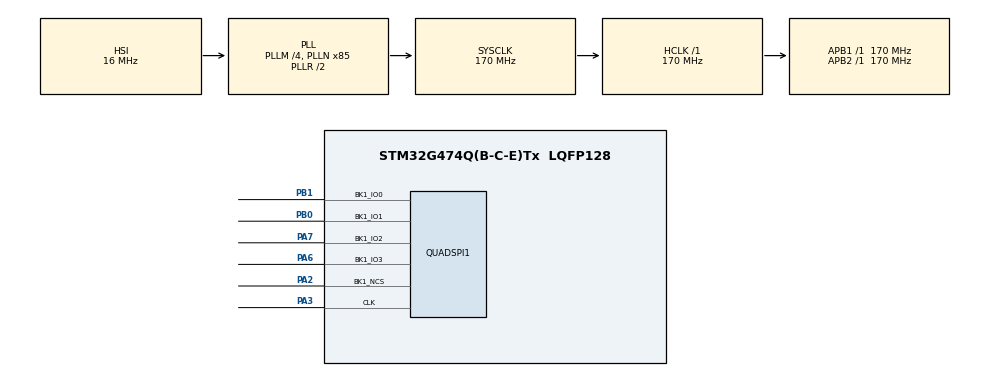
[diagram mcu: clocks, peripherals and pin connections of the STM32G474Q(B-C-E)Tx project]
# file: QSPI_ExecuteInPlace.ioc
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Dma.QUADSPI.0.Direction=DMA_PERIPH_TO_MEMORY
Dma.QUADSPI.0.EventEnable=DISABLE
Dma.QUADSPI.0.Instance=DMA1_Channel1
Dma.QUADSPI.0.MemDataAlignment=DMA_MDATAALIGN_BYTE
Dma.QUADSPI.0.MemInc=DMA_MINC_ENABLE
Dma.QUADSPI.0.Mode=DMA_NORMAL
Dma.QUADSPI.0.PeriphDataAlignment=DMA_PDATAALIGN_BYTE
Dma.QUADSPI.0.PeriphInc=DMA_PINC_DISABLE
Dma.QUADSPI.0.Polarity=HAL_DMAMUX_REQ_GEN_RISING
Dma.QUADSPI.0.Priority=DMA_PRIORITY_LOW
Dma.QUADSPI.0.RequestNumber=1
Dma.QUADSPI.0.SignalID=NONE
Dma.QUADSPI.0.SyncEnable=DISABLE
Dma.QUADSPI.0.SyncPolarity=HAL_DMAMUX_SYNC_NO_EVENT
Dma.QUADSPI.0.SyncRequestNumber=1
Dma.QUADSPI.0.SyncSignalID=NONE
Dma.Request0=QUADSPI
Mcu.Family=STM32G4
Mcu.Name=STM32G474Q(B-C-E)Tx
Mcu.Package=LQFP128
NVIC.DMA1_Channel1_IRQn=true\:0\:0\:false\:false\:true\:false\:true\:true
NVIC.PriorityGroup=NVIC_PRIORITYGROUP_4
NVIC.QUADSPI_IRQn=true\:0\:0\:false\:false\:true\:true\:true\:true
PA2.GPIO_Speed=GPIO_SPEED_FREQ_VERY_HIGH
PA2.Mode=Single Bank 1
PA2.Signal=QUADSPI1_BK1_NCS
PA3.GPIO_Speed=GPIO_SPEED_FREQ_VERY_HIGH
PA3.Mode=Single Bank 1
PA3.Signal=QUADSPI1_CLK
PA6.GPIO_Speed=GPIO_SPEED_FREQ_VERY_HIGH
PA6.Mode=Single Bank 1
PA6.Signal=QUADSPI1_BK1_IO3
PA7.GPIO_Speed=GPIO_SPEED_FREQ_VERY_HIGH
PA7.Mode=Single Bank 1
PA7.Signal=QUADSPI1_BK1_IO2
PB0.GPIO_Speed=GPIO_SPEED_FREQ_VERY_HIGH
PB0.Mode=Single Bank 1
PB0.Signal=QUADSPI1_BK1_IO1
PB1.GPIO_Speed=GPIO_SPEED_FREQ_VERY_HIGH
PB1.Mode=Single Bank 1
PB1.Signal=QUADSPI1_BK1_IO0
ProjectManager.HeapSize=0x200
ProjectManager.StackSize=0xA00
ProjectManager.TargetToolchain=EWARM V8.32
QUADSPI1.ChipSelectHighTime=QSPI_CS_HIGH_TIME_4_CYCLE
QUADSPI1.ClockMode=QSPI_CLOCK_MODE_0
QUADSPI1.ClockPrescaler=1
QUADSPI1.DualFlash=QSPI_DUALFLASH_DISABLE
QUADSPI1.FifoThreshold=4
QUADSPI1.FlashID=QSPI_FLASH_ID_1
QUADSPI1.FlashSize=QSPI_FLASH_SIZE
QUADSPI1.SampleShifting=QSPI_SAMPLE_SHIFTING_NONE
RCC.ADC12Freq_Value=170000000
RCC.ADC345Freq_Value=170000000
RCC.AHBFreq_Value=170000000
RCC.APB1Freq_Value=170000000
RCC.APB1TimFreq_Value=170000000
RCC.APB2Freq_Value=170000000
RCC.APB2TimFreq_Value=170000000
RCC.CortexFreq_Value=170000000
RCC.EXTERNAL_CLOCK_VALUE=12288000
RCC.HCLKFreq_Value=170000000
RCC.HSE_VALUE=24000000
RCC.HSI48_VALUE=48000000
RCC.HSI_VALUE=16000000
RCC.LSE_VALUE=32768
RCC.PLLM=RCC_PLLM_DIV4
RCC.PLLN=85
RCC.SYSCLKFreq_VALUE=170000000
RCC.SYSCLKSource=RCC_SYSCLKSOURCE_PLLCLK
RCC.USBFreq_Value=170000000
RCC.VCOOutputFreq_Value=340000000
VP_SYS_VS_DBSignals.Mode=DisableDeadBatterySignals
board=custom

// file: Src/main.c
/* USER CODE BEGIN Header */
/**
  ******************************************************************************
  * @file    QSPI/QSPI_ExecuteInPlace/Src/main.c
  * @author  MCD Application Team
  * @brief   This sample code shows how to erase part of the QSPI memory, write
  *          data in DMA mode and access to QSPI memory in memory-mapped mode.
  ******************************************************************************
  * @attention
  *
  * Copyright (c) 2019 STMicroelectronics.
  * All rights reserved.
  *
  * This software is licensed under terms that can be found in the LICENSE file
  * in the root directory of this software component.
  * If no LICENSE file comes with this software, it is provided AS-IS.
  *
  ******************************************************************************
  */
/* USER CODE END Header */
#include "main.h"

QSPI_HandleTypeDef hqspi1;
DMA_HandleTypeDef hdma_quadspi;

/* USER CODE BEGIN PV */
#if defined(__CC_ARM)
extern uint32_t Load$$QSPI$$Base;
extern uint32_t Load$$QSPI$$Length;
#elif defined(__ICCARM__)
#pragma section =".qspi"
#pragma section =".qspi_init"
#elif defined(__GNUC__)
extern uint32_t _qspi_init_base;
extern uint32_t _qspi_init_length;
#endif

__IO uint8_t CmdCplt, RxCplt, TxCplt, StatusMatch;
/* USER CODE END PV */

void SystemClock_Config(void);
static void MX_GPIO_Init(void);
static void MX_DMA_Init(void);
static void MX_QUADSPI1_Init(void);
/* USER CODE BEGIN PFP */
static void QSPI_WriteEnable(QSPI_HandleTypeDef *hqspi);
static void QSPI_AutoPollingMemReady(QSPI_HandleTypeDef *hqspi);
static void QSPI_DummyCyclesCfg(QSPI_HandleTypeDef *hqspi);
static void GpioToggle(void);
/* USER CODE END PFP */

int main(void)
{
  /* USER CODE BEGIN 1 */
  QSPI_CommandTypeDef      sCommand;
  QSPI_MemoryMappedTypeDef sMemMappedCfg;
  __IO uint32_t qspi_addr = 0;
  uint8_t *flash_addr = 0;
  __IO uint8_t step = 0;
  uint32_t max_size = 0, size = 0;

  /* STM32G4xx HAL library initialization:
       - Configure the Flash prefetch
       - Systick timer is configured by default as source of time base, but user
         can eventually implement his proper time base source (a general purpose
         timer for example or other time source), keeping in mind that Time base
         duration should be kept 1ms since PPP_TIMEOUT_VALUEs are defined and
         handled in milliseconds basis.
       - Set NVIC Group Priority to 4
       - Low Level Initialization
     */
  /* USER CODE END 1 */

  /* MCU Configuration--------------------------------------------------------*/

  /* Reset of all peripherals, Initializes the Flash interface and the Systick. */
  HAL_Init();

  /* Configure the system clock */
  SystemClock_Config();

  /* USER CODE BEGIN SysInit */
  BSP_LED_Init(LED1);
  BSP_LED_Init(LED2);
  BSP_LED_Init(LED3);
  BSP_LED_Init(LED4);
  /* USER CODE END SysInit */

  /* Initialize all configured peripherals */
  MX_GPIO_Init();
  MX_DMA_Init();
  MX_QUADSPI1_Init();
  /* USER CODE BEGIN 2 */
  /* Initialize QSPI commande structure */
  sCommand.InstructionMode   = QSPI_INSTRUCTION_1_LINE;
  sCommand.AddressSize       = QSPI_ADDRESS_24_BITS;
  sCommand.AlternateByteMode = QSPI_ALTERNATE_BYTES_NONE;
  sCommand.DdrMode           = QSPI_DDR_MODE_DISABLE;
  sCommand.DdrHoldHalfCycle  = QSPI_DDR_HHC_ANALOG_DELAY;
  sCommand.SIOOMode          = QSPI_SIOO_INST_EVERY_CMD;

#if defined(__CC_ARM)
  max_size = (uint32_t)(&Load$$QSPI$$Length);
#elif defined(__ICCARM__)
  max_size = __section_size(".qspi_init");
#elif defined(__GNUC__)
  max_size = (uint32_t)((uint8_t *)(&_qspi_init_length));
#endif
  /* USER CODE END 2 */

  /* Infinite loop */
  /* USER CODE BEGIN WHILE */
  while (1)
  {
    switch(step)
    {
      case 0:
        CmdCplt = 0;

        /* Enable write operations ------------------------------------------- */
        QSPI_WriteEnable(&hqspi1);

        /* Erasing Sequence -------------------------------------------------- */
        sCommand.Instruction = MT25QL512ABB_SECTOR_ERASE_64K_CMD;
        sCommand.AddressMode = QSPI_ADDRESS_1_LINE;
        sCommand.Address     = qspi_addr;
        sCommand.DataMode    = QSPI_DATA_NONE;
        sCommand.DummyCycles = 0;

        if (HAL_QSPI_Command_IT(&hqspi1, &sCommand) != HAL_OK)
        {
          Error_Handler();
        }

        step++;
        break;

      case 1:
        if(CmdCplt != 0)
        {
          CmdCplt = 0;
          StatusMatch = 0;

          /* Configure automatic polling mode to wait for end of erase ------- */
          QSPI_AutoPollingMemReady(&hqspi1);

#if defined(__CC_ARM)
          flash_addr = (uint8_t *)(&Load$$QSPI$$Base);
#elif defined(__ICCARM__)
          flash_addr = (uint8_t *)(__section_begin(".qspi_init"));
#elif defined(__GNUC__)
          flash_addr = (uint8_t *)(&_qspi_init_base);
#endif

          /* Copy only one page if the section is bigger */
          if (max_size > QSPI_PAGE_SIZE)
          {
            size = QSPI_PAGE_SIZE;
          }
          else
          {
            size = max_size;
          }

          step++;
        }
        break;

      case 2:
        if(StatusMatch != 0)
        {
          StatusMatch = 0;
          TxCplt = 0;

          /* Enable write operations ----------------------------------------- */
          QSPI_WriteEnable(&hqspi1);

          /* Writing Sequence ------------------------------------------------ */
          sCommand.Instruction = MT25QL512ABB_EXTENDED_QUAD_INPUT_FAST_PROG_CMD;
          sCommand.AddressMode = QSPI_ADDRESS_4_LINES;
          sCommand.Address     = qspi_addr;
          sCommand.DataMode    = QSPI_DATA_4_LINES;
          sCommand.NbData      = size;

          if (HAL_QSPI_Command(&hqspi1, &sCommand, HAL_QSPI_TIMEOUT_DEFAULT_VALUE) != HAL_OK)
          {
            Error_Handler();
          }

          if (HAL_QSPI_Transmit_DMA(&hqspi1, flash_addr) != HAL_OK)
          {
            Error_Handler();
          }

          step++;

        }
        break;

      case 3:
        if(TxCplt != 0)
        {
          TxCplt = 0;
          StatusMatch = 0;

          /* Configure automatic polling mode to wait for end of program ----- */
          QSPI_AutoPollingMemReady(&hqspi1);

          step++;
        }
        break;

      case 4:
        if(StatusMatch != 0)
        {
          qspi_addr += size;
          flash_addr += size;

          /* Check if a new page writing is needed */
          if (qspi_addr < max_size)
          {
            /* Update the remaining size if it is less than the page size */
            if ((qspi_addr + size) > max_size)
            {
              size = (max_size - qspi_addr);
            }
            step = 2;
          }
          else
          {
            StatusMatch = 0;
            RxCplt = 0;

            /* Configure Volatile Configuration register (with new dummy cycles) */
            QSPI_DummyCyclesCfg(&hqspi1);

            /* Reading Sequence ------------------------------------------------ */
            sCommand.Instruction = MT25QL512ABB_4IO_FAST_READ_CMD;
            sCommand.DummyCycles = 4;

            sMemMappedCfg.TimeOutActivation = QSPI_TIMEOUT_COUNTER_DISABLE;

            if (HAL_QSPI_MemoryMapped(&hqspi1, &sCommand, &sMemMappedCfg) != HAL_OK)
            {
              Error_Handler();
            }

            step++;
          }
        }
        break;

      case 5:
        /* Execute the code from QSPI memory ------------------------------- */
        GpioToggle();
        break;

      default :
        Error_Handler();
    }
    /* USER CODE END WHILE */

  }
}

void SystemClock_Config(void)
{
  RCC_OscInitTypeDef RCC_OscInitStruct = {0};
  RCC_ClkInitTypeDef RCC_ClkInitStruct = {0};

  /** Configure the main internal regulator output voltage
  */
  HAL_PWREx_ControlVoltageScaling(PWR_REGULATOR_VOLTAGE_SCALE1_BOOST);

  /** Initializes the RCC Oscillators according to the specified parameters
  * in the RCC_OscInitTypeDef structure.
  */
  RCC_OscInitStruct.OscillatorType = RCC_OSCILLATORTYPE_HSI;
  RCC_OscInitStruct.HSIState = RCC_HSI_ON;
  RCC_OscInitStruct.HSICalibrationValue = RCC_HSICALIBRATION_DEFAULT;
  RCC_OscInitStruct.PLL.PLLState = RCC_PLL_ON;
  RCC_OscInitStruct.PLL.PLLSource = RCC_PLLSOURCE_HSI;
  RCC_OscInitStruct.PLL.PLLM = RCC_PLLM_DIV4;
  RCC_OscInitStruct.PLL.PLLN = 85;
  RCC_OscInitStruct.PLL.PLLP = RCC_PLLP_DIV2;
  RCC_OscInitStruct.PLL.PLLQ = RCC_PLLQ_DIV2;
  RCC_OscInitStruct.PLL.PLLR = RCC_PLLR_DIV2;
  if (HAL_RCC_OscConfig(&RCC_OscInitStruct) != HAL_OK)
  {
    Error_Handler();
  }

  /** Initializes the CPU, AHB and APB buses clocks
  */
  RCC_ClkInitStruct.ClockType = RCC_CLOCKTYPE_HCLK|RCC_CLOCKTYPE_SYSCLK
                              |RCC_CLOCKTYPE_PCLK1|RCC_CLOCKTYPE_PCLK2;
  RCC_ClkInitStruct.SYSCLKSource = RCC_SYSCLKSOURCE_PLLCLK;
  RCC_ClkInitStruct.AHBCLKDivider = RCC_SYSCLK_DIV1;
  RCC_ClkInitStruct.APB1CLKDivider = RCC_HCLK_DIV1;
  RCC_ClkInitStruct.APB2CLKDivider = RCC_HCLK_DIV1;

  if (HAL_RCC_ClockConfig(&RCC_ClkInitStruct, FLASH_LATENCY_4) != HAL_OK)
  {
    Error_Handler();
  }
}

static void MX_QUADSPI1_Init(void)
{

  /* QUADSPI1 parameter configuration*/
  hqspi1.Instance = QUADSPI;
  hqspi1.Init.ClockPrescaler = 1;
  hqspi1.Init.FifoThreshold = 4;
  hqspi1.Init.SampleShifting = QSPI_SAMPLE_SHIFTING_NONE;
  hqspi1.Init.FlashSize = QSPI_FLASH_SIZE;
  hqspi1.Init.ChipSelectHighTime = QSPI_CS_HIGH_TIME_4_CYCLE;
  hqspi1.Init.ClockMode = QSPI_CLOCK_MODE_0;
  hqspi1.Init.FlashID = QSPI_FLASH_ID_1;
  hqspi1.Init.DualFlash = QSPI_DUALFLASH_DISABLE;
  if (HAL_QSPI_Init(&hqspi1) != HAL_OK)
  {
    Error_Handler();
  }

}

static void MX_DMA_Init(void)
{

  /* DMA controller clock enable */
  __HAL_RCC_DMAMUX1_CLK_ENABLE();
  __HAL_RCC_DMA1_CLK_ENABLE();

  /* DMA interrupt init */
  /* DMA1_Channel1_IRQn interrupt configuration */
  HAL_NVIC_SetPriority(DMA1_Channel1_IRQn, 0, 0);
  HAL_NVIC_EnableIRQ(DMA1_Channel1_IRQn);

}

static void MX_GPIO_Init(void)
{

  /* GPIO Ports Clock Enable */
  __HAL_RCC_GPIOA_CLK_ENABLE();
  __HAL_RCC_GPIOB_CLK_ENABLE();

}

/* USER CODE BEGIN 4 */
/**
  * @brief  Command completed callbacks.
  * @param  hqspi QSPI handle
  * @retval None
  */
void HAL_QSPI_CmdCpltCallback(QSPI_HandleTypeDef *hqspi)
{
  CmdCplt++;
}

/**
  * @brief  Rx Transfer completed callbacks.
  * @param  hqspi QSPI handle
  * @retval None
  */
void HAL_QSPI_RxCpltCallback(QSPI_HandleTypeDef *hqspi)
{
  RxCplt++;
}

/**
  * @brief  Tx Transfer completed callbacks.
  * @param  hqspi QSPI handle
  * @retval None
  */
void HAL_QSPI_TxCpltCallback(QSPI_HandleTypeDef *hqspi)
{
  TxCplt++;
}

/**
  * @brief  Status Match callbacks
  * @param  hqspi QSPI handle
  * @retval None
  */
void HAL_QSPI_StatusMatchCallback(QSPI_HandleTypeDef *hqspi)
{
  StatusMatch++;
}

/**
  * @brief  This function send a Write Enable and wait it is effective.
  * @param  hqspi QSPI handle
  * @retval None
  */
static void QSPI_WriteEnable(QSPI_HandleTypeDef *hqspi)
{
  QSPI_CommandTypeDef     sCommand;
  QSPI_AutoPollingTypeDef sConfig;

  /* Enable write operations ------------------------------------------ */
  sCommand.InstructionMode   = QSPI_INSTRUCTION_1_LINE;
  sCommand.Instruction       = MT25QL512ABB_WRITE_ENABLE_CMD;
  sCommand.AddressMode       = QSPI_ADDRESS_NONE;
  sCommand.AlternateByteMode = QSPI_ALTERNATE_BYTES_NONE;
  sCommand.DataMode          = QSPI_DATA_NONE;
  sCommand.DummyCycles       = 0;
  sCommand.DdrMode           = QSPI_DDR_MODE_DISABLE;
  sCommand.DdrHoldHalfCycle  = QSPI_DDR_HHC_ANALOG_DELAY;
  sCommand.SIOOMode          = QSPI_SIOO_INST_EVERY_CMD;

  if (HAL_QSPI_Command(hqspi, &sCommand, HAL_QSPI_TIMEOUT_DEFAULT_VALUE) != HAL_OK)
  {
    Error_Handler();
  }

  /* Configure automatic polling mode to wait for write enabling ---- */
  sConfig.Match           = 0x02;
  sConfig.Mask            = 0x02;
  sConfig.MatchMode       = QSPI_MATCH_MODE_AND;
  sConfig.StatusBytesSize = 1;
  sConfig.Interval        = 0x10;
  sConfig.AutomaticStop   = QSPI_AUTOMATIC_STOP_ENABLE;

  sCommand.Instruction    = MT25QL512ABB_READ_STATUS_REG_CMD;
  sCommand.DataMode       = QSPI_DATA_1_LINE;

  if (HAL_QSPI_AutoPolling(hqspi, &sCommand, &sConfig, HAL_QSPI_TIMEOUT_DEFAULT_VALUE) != HAL_OK)
  {
    Error_Handler();
  }
}

/**
  * @brief  This function read the SR of the memory and wait the EOP.
  * @param  hqspi QSPI handle
  * @retval None
  */
static void QSPI_AutoPollingMemReady(QSPI_HandleTypeDef *hqspi)
{
  QSPI_CommandTypeDef     sCommand;
  QSPI_AutoPollingTypeDef sConfig;

  /* Configure automatic polling mode to wait for memory ready ------ */
  sCommand.InstructionMode   = QSPI_INSTRUCTION_1_LINE;
  sCommand.Instruction       = MT25QL512ABB_READ_STATUS_REG_CMD;
  sCommand.AddressMode       = QSPI_ADDRESS_NONE;
  sCommand.AlternateByteMode = QSPI_ALTERNATE_BYTES_NONE;
  sCommand.DataMode          = QSPI_DATA_1_LINE;
  sCommand.DummyCycles       = 0;
  sCommand.DdrMode           = QSPI_DDR_MODE_DISABLE;
  sCommand.DdrHoldHalfCycle  = QSPI_DDR_HHC_ANALOG_DELAY;
  sCommand.SIOOMode          = QSPI_SIOO_INST_EVERY_CMD;

  sConfig.Match           = 0x00;
  sConfig.Mask            = 0x01;
  sConfig.MatchMode       = QSPI_MATCH_MODE_AND;
  sConfig.StatusBytesSize = 1;
  sConfig.Interval        = 0x10;
  sConfig.AutomaticStop   = QSPI_AUTOMATIC_STOP_ENABLE;

  if (HAL_QSPI_AutoPolling_IT(hqspi, &sCommand, &sConfig) != HAL_OK)
  {
    Error_Handler();
  }
}

/**
  * @brief  This function configure the dummy cycles on memory side.
  * @param  hqspi QSPI handle
  * @retval None
  */
static void QSPI_DummyCyclesCfg(QSPI_HandleTypeDef *hqspi)
{
  QSPI_CommandTypeDef sCommand;
  uint8_t reg;

  /* Read Volatile Configuration register --------------------------- */
  sCommand.InstructionMode   = QSPI_INSTRUCTION_1_LINE;
  sCommand.Instruction       = MT25QL512ABB_READ_VOL_CFG_REG_CMD;
  sCommand.AddressMode       = QSPI_ADDRESS_NONE;
  sCommand.AlternateByteMode = QSPI_ALTERNATE_BYTES_NONE;
  sCommand.DataMode          = QSPI_DATA_1_LINE;
  sCommand.DummyCycles       = 0;
  sCommand.DdrMode           = QSPI_DDR_MODE_DISABLE;
  sCommand.DdrHoldHalfCycle  = QSPI_DDR_HHC_ANALOG_DELAY;
  sCommand.SIOOMode          = QSPI_SIOO_INST_EVERY_CMD;
  sCommand.NbData            = 1;

  if (HAL_QSPI_Command(hqspi, &sCommand, HAL_QSPI_TIMEOUT_DEFAULT_VALUE) != HAL_OK)
  {
    Error_Handler();
  }

  if (HAL_QSPI_Receive(hqspi, &reg, HAL_QSPI_TIMEOUT_DEFAULT_VALUE) != HAL_OK)
  {
    Error_Handler();
  }

  /* Enable write operations ---------------------------------------- */
  QSPI_WriteEnable(hqspi);

  /* Write Volatile Configuration register (with new dummy cycles) -- */
  sCommand.Instruction = MT25QL512ABB_WRITE_VOL_CFG_REG_CMD;
  MODIFY_REG(reg, 0xF0, (4 << POSITION_VAL(0xF0)));

  if (HAL_QSPI_Command(hqspi, &sCommand, HAL_QSPI_TIMEOUT_DEFAULT_VALUE) != HAL_OK)
  {
    Error_Handler();
  }

  if (HAL_QSPI_Transmit(hqspi, &reg, HAL_QSPI_TIMEOUT_DEFAULT_VALUE) != HAL_OK)
  {
    Error_Handler();
  }
}

/**
  * @brief  Toggle the GPIOs
  * @param  None
  * @retval None
  */
#if defined(__CC_ARM)
#pragma arm section code = ".qspi"
#pragma no_inline
static void GpioToggle(void)
#elif defined(__ICCARM__)
static void GpioToggle(void) @ ".qspi"
#elif defined(__GNUC__)
static void __attribute__((section(".qspi"), noinline)) GpioToggle(void)
#endif
{
  BSP_LED_Toggle(LED1);
  /* Insert delay 100 ms */
  HAL_Delay(100);
  BSP_LED_Toggle(LED2);
  /* Insert delay 100 ms */
  HAL_Delay(100);
  BSP_LED_Toggle(LED3);
  /* Insert delay 100 ms */
  HAL_Delay(100);
  BSP_LED_Toggle(LED4);
  /* Insert delay 100 ms */
  HAL_Delay(100);
}
#if defined(__CC_ARM)
#pragma arm section code
#endif

/* USER CODE END 4 */

void Error_Handler(void)
{
  /* USER CODE BEGIN Error_Handler_Debug */
  /* User can add his own implementation to report the HAL error return state */
  BSP_LED_On(LED3);

  while(1)
  {
  }
  /* USER CODE END Error_Handler_Debug */
}
